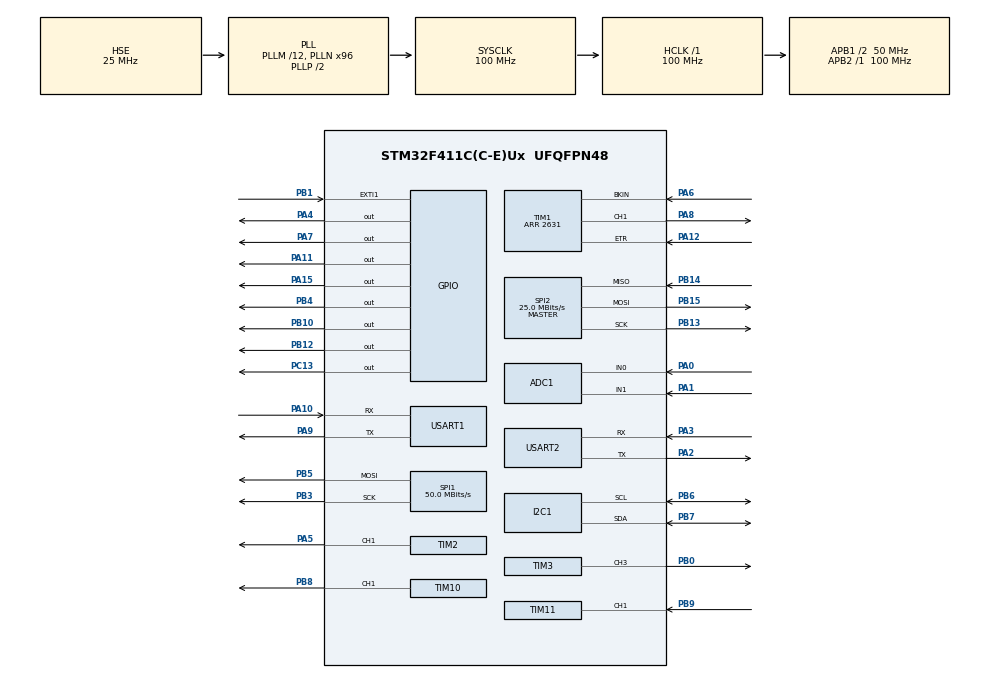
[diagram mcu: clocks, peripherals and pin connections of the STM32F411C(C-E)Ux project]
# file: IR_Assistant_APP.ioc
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ADC1.Channel-0\#ChannelRegularConversion=ADC_CHANNEL_0
ADC1.NbrOfConversionFlag=1
ADC1.Rank-0\#ChannelRegularConversion=1
ADC1.SamplingTime-0\#ChannelRegularConversion=ADC_SAMPLETIME_3CYCLES
ADC1.master=1
Dma.Request0=TIM2_CH3/UP
Dma.Request1=SPI1_TX
Dma.Request2=USART1_RX
Dma.Request3=USART2_RX
Dma.Request4=USART1_TX
Dma.Request5=USART2_TX
Dma.SPI1_TX.1.Direction=DMA_MEMORY_TO_PERIPH
Dma.SPI1_TX.1.FIFOMode=DMA_FIFOMODE_DISABLE
Dma.SPI1_TX.1.Instance=DMA2_Stream2
Dma.SPI1_TX.1.MemDataAlignment=DMA_MDATAALIGN_HALFWORD
Dma.SPI1_TX.1.MemInc=DMA_MINC_ENABLE
Dma.SPI1_TX.1.Mode=DMA_NORMAL
Dma.SPI1_TX.1.PeriphDataAlignment=DMA_PDATAALIGN_HALFWORD
Dma.SPI1_TX.1.PeriphInc=DMA_PINC_DISABLE
Dma.SPI1_TX.1.Priority=DMA_PRIORITY_VERY_HIGH
Dma.TIM2_CH3/UP.0.Direction=DMA_MEMORY_TO_PERIPH
Dma.TIM2_CH3/UP.0.FIFOMode=DMA_FIFOMODE_DISABLE
Dma.TIM2_CH3/UP.0.Instance=DMA1_Stream1
Dma.TIM2_CH3/UP.0.MemDataAlignment=DMA_MDATAALIGN_WORD
Dma.TIM2_CH3/UP.0.MemInc=DMA_MINC_ENABLE
Dma.TIM2_CH3/UP.0.Mode=DMA_NORMAL
Dma.TIM2_CH3/UP.0.PeriphDataAlignment=DMA_PDATAALIGN_WORD
Dma.TIM2_CH3/UP.0.PeriphInc=DMA_PINC_DISABLE
Dma.TIM2_CH3/UP.0.Priority=DMA_PRIORITY_VERY_HIGH
Dma.USART1_RX.2.Direction=DMA_PERIPH_TO_MEMORY
Dma.USART1_RX.2.FIFOMode=DMA_FIFOMODE_DISABLE
Dma.USART1_RX.2.Instance=DMA2_Stream5
Dma.USART1_RX.2.MemDataAlignment=DMA_MDATAALIGN_BYTE
Dma.USART1_RX.2.MemInc=DMA_MINC_ENABLE
Dma.USART1_RX.2.Mode=DMA_NORMAL
Dma.USART1_RX.2.PeriphDataAlignment=DMA_PDATAALIGN_BYTE
Dma.USART1_RX.2.PeriphInc=DMA_PINC_DISABLE
Dma.USART1_RX.2.Priority=DMA_PRIORITY_HIGH
Dma.USART1_TX.4.Direction=DMA_MEMORY_TO_PERIPH
Dma.USART1_TX.4.FIFOMode=DMA_FIFOMODE_DISABLE
Dma.USART1_TX.4.Instance=DMA2_Stream7
Dma.USART1_TX.4.MemDataAlignment=DMA_MDATAALIGN_BYTE
Dma.USART1_TX.4.MemInc=DMA_MINC_ENABLE
Dma.USART1_TX.4.Mode=DMA_NORMAL
Dma.USART1_TX.4.PeriphDataAlignment=DMA_PDATAALIGN_BYTE
Dma.USART1_TX.4.PeriphInc=DMA_PINC_DISABLE
Dma.USART1_TX.4.Priority=DMA_PRIORITY_HIGH
Dma.USART2_RX.3.Direction=DMA_PERIPH_TO_MEMORY
Dma.USART2_RX.3.FIFOMode=DMA_FIFOMODE_DISABLE
Dma.USART2_RX.3.Instance=DMA1_Stream5
Dma.USART2_RX.3.MemDataAlignment=DMA_MDATAALIGN_BYTE
Dma.USART2_RX.3.MemInc=DMA_MINC_ENABLE
Dma.USART2_RX.3.Mode=DMA_NORMAL
Dma.USART2_RX.3.PeriphDataAlignment=DMA_PDATAALIGN_BYTE
Dma.USART2_RX.3.PeriphInc=DMA_PINC_DISABLE
Dma.USART2_RX.3.Priority=DMA_PRIORITY_HIGH
Dma.USART2_TX.5.Direction=DMA_MEMORY_TO_PERIPH
Dma.USART2_TX.5.FIFOMode=DMA_FIFOMODE_DISABLE
Dma.USART2_TX.5.Instance=DMA1_Stream6
Dma.USART2_TX.5.MemDataAlignment=DMA_MDATAALIGN_BYTE
Dma.USART2_TX.5.MemInc=DMA_MINC_ENABLE
Dma.USART2_TX.5.Mode=DMA_NORMAL
Dma.USART2_TX.5.PeriphDataAlignment=DMA_PDATAALIGN_BYTE
Dma.USART2_TX.5.PeriphInc=DMA_PINC_DISABLE
Dma.USART2_TX.5.Priority=DMA_PRIORITY_HIGH
FREERTOS.Tasks01=defaultTask,8,128,StartDefaultTask,Default,NULL,Dynamic,NULL,NULL
FREERTOS.configENABLE_FPU=1
FREERTOS.configTOTAL_HEAP_SIZE=61400
FREERTOS.configUSE_TICK_HOOK=1
I2C1.I2C_Mode=I2C_Fast
Mcu.Family=STM32F4
Mcu.Name=STM32F411C(C-E)Ux
Mcu.Package=UFQFPN48
NVIC.DMA1_Stream1_IRQn=true\:6\:0\:true\:false\:true\:true\:false\:true\:true
NVIC.DMA1_Stream5_IRQn=true\:5\:0\:false\:false\:true\:true\:false\:true\:true
NVIC.DMA1_Stream6_IRQn=true\:5\:0\:false\:false\:true\:true\:false\:true\:true
NVIC.DMA2_Stream2_IRQn=true\:6\:0\:true\:false\:true\:true\:false\:true\:true
NVIC.DMA2_Stream5_IRQn=true\:5\:0\:false\:false\:true\:true\:false\:true\:true
NVIC.DMA2_Stream7_IRQn=true\:5\:0\:false\:false\:true\:true\:false\:true\:true
NVIC.EXTI1_IRQn=true\:5\:0\:false\:false\:true\:true\:true\:true\:true
NVIC.PriorityGroup=NVIC_PRIORITYGROUP_4
NVIC.TIM1_BRK_TIM9_IRQn=true\:15\:0\:false\:false\:true\:false\:false\:true\:true
NVIC.TIM1_TRG_COM_TIM11_IRQn=true\:5\:0\:false\:false\:true\:true\:true\:true\:true
NVIC.TimeBase=TIM1_BRK_TIM9_IRQn
NVIC.TimeBaseIP=TIM9
NVIC.USART1_IRQn=true\:5\:0\:false\:false\:true\:true\:true\:true\:true
NVIC.USART2_IRQn=true\:5\:0\:false\:false\:true\:true\:true\:true\:true
PA0-WKUP.Signal=ADCx_IN0
PA1.Signal=ADCx_IN1
PA10.Mode=Asynchronous
PA10.Signal=USART1_RX
PA11.Signal=GPIO_Output
PA12.GPIO_Speed=GPIO_SPEED_FREQ_HIGH
PA12.Signal=S_TIM1_ETR
PA13.Mode=Serial_Wire
PA13.Signal=SYS_JTMS-SWDIO
PA14.Mode=Serial_Wire
PA14.Signal=SYS_JTCK-SWCLK
PA15.Signal=GPIO_Output
PA2.Mode=Asynchronous
PA2.Signal=USART2_TX
PA3.Mode=Asynchronous
PA3.Signal=USART2_RX
PA4.GPIO_ModeDefaultOutputPP=GPIO_MODE_OUTPUT_OD
PA4.GPIO_PuPd=GPIO_NOPULL
PA4.PinState=GPIO_PIN_SET
PA4.Signal=GPIO_Output
PA5.GPIO_PuPd=GPIO_PULLUP
PA5.GPIO_Speed=GPIO_SPEED_FREQ_HIGH
PA5.Signal=S_TIM2_CH1_ETR
PA6.Mode=Activate-Break-Input
PA6.Signal=TIM1_BKIN
PA7.GPIO_ModeDefaultOutputPP=GPIO_MODE_OUTPUT_OD
PA7.GPIO_PuPd=GPIO_NOPULL
PA7.PinState=GPIO_PIN_SET
PA7.Signal=GPIO_Output
PA8.GPIO_Speed=GPIO_SPEED_FREQ_HIGH
PA8.Signal=S_TIM1_CH1
PA9.Mode=Asynchronous
PA9.Signal=USART1_TX
PB0.Signal=S_TIM3_CH3
PB1.GPIO_ModeDefaultEXTI=GPIO_MODE_IT_FALLING
PB1.GPIO_PuPd=GPIO_PULLUP
PB1.Signal=GPXTI1
PB10.Signal=GPIO_Output
PB12.PinState=GPIO_PIN_SET
PB12.Signal=GPIO_Output
PB13.Mode=Full_Duplex_Master
PB13.Signal=SPI2_SCK
PB14.Mode=Full_Duplex_Master
PB14.Signal=SPI2_MISO
PB15.Mode=Full_Duplex_Master
PB15.Signal=SPI2_MOSI
PB3.Mode=TX_Only_Simplex_Unidirect_Master
PB3.Signal=SPI1_SCK
PB4.Signal=GPIO_Output
PB5.Mode=TX_Only_Simplex_Unidirect_Master
PB5.Signal=SPI1_MOSI
PB6.Mode=I2C
PB6.Signal=I2C1_SCL
PB7.Mode=I2C
PB7.Signal=I2C1_SDA
PB8.Signal=S_TIM10_CH1
PB9.Signal=S_TIM11_CH1
PC13-ANTI_TAMP.Signal=GPIO_Output
PC14-OSC32_IN.Mode=LSE-External-Oscillator
PC14-OSC32_IN.Signal=RCC_OSC32_IN
PC15-OSC32_OUT.Mode=LSE-External-Oscillator
PC15-OSC32_OUT.Signal=RCC_OSC32_OUT
PH0\ -\ OSC_IN.Mode=HSE-External-Oscillator
PH0\ -\ OSC_IN.Signal=RCC_OSC_IN
PH1\ -\ OSC_OUT.Mode=HSE-External-Oscillator
PH1\ -\ OSC_OUT.Signal=RCC_OSC_OUT
ProjectManager.HeapSize=0x0
ProjectManager.StackSize=0x1000
ProjectManager.TargetToolchain=CMake
RCC.48MHZClocksFreq_Value=50000000
RCC.AHBFreq_Value=100000000
RCC.APB1CLKDivider=RCC_HCLK_DIV2
RCC.APB1Freq_Value=50000000
RCC.APB1TimFreq_Value=100000000
RCC.APB2Freq_Value=100000000
RCC.APB2TimFreq_Value=100000000
RCC.CortexFreq_Value=100000000
RCC.HCLKFreq_Value=100000000
RCC.HSE_VALUE=25000000
RCC.HSI_VALUE=16000000
RCC.PLLM=12
RCC.PLLN=96
RCC.PLLSourceVirtual=RCC_PLLSOURCE_HSE
RCC.RCC_RTC_Clock_Source=RCC_RTCCLKSOURCE_LSE
RCC.RCC_RTC_Clock_SourceVirtual=RCC_RTCCLKSOURCE_LSI
RCC.SYSCLKFreq_VALUE=100000000
RCC.SYSCLKSource=RCC_SYSCLKSOURCE_PLLCLK
RCC.VCOOutputFreq_Value=200000000
SH.ADCx_IN0.0=ADC1_IN0,IN0
SH.ADCx_IN1.0=ADC1_IN1,IN1
SH.S_TIM10_CH1.0=TIM10_CH1,PWM Generation1 CH1
SH.S_TIM11_CH1.0=TIM11_CH1,Input_Capture1_from_TI1
SH.S_TIM1_CH1.0=TIM1_CH1,PWM Generation1 CH1
SH.S_TIM1_ETR.0=TIM1_ETR,TriggerSource_ETR
SH.S_TIM2_CH1_ETR.0=TIM2_CH1,Output Compare1 CH1
SH.S_TIM3_CH3.0=TIM3_CH3,PWM Generation3 CH3
SPI1.BaudRatePrescaler=SPI_BAUDRATEPRESCALER_2
SPI1.CalculateBaudRate=50.0 MBits/s
SPI1.Direction=SPI_DIRECTION_2LINES
SPI1.Mode=SPI_MODE_MASTER
SPI1.VirtualType=VM_MASTER
SPI2.BaudRatePrescaler=SPI_BAUDRATEPRESCALER_2
SPI2.CalculateBaudRate=25.0 MBits/s
SPI2.Direction=SPI_DIRECTION_2LINES
SPI2.Mode=SPI_MODE_MASTER
SPI2.VirtualType=VM_MASTER
TIM1.AutoReloadPreload=TIM_AUTORELOAD_PRELOAD_ENABLE
TIM1.AutomaticOutput=TIM_AUTOMATICOUTPUT_ENABLE
TIM1.Channel-PWM\ Generation1\ CH1=TIM_CHANNEL_1
TIM1.OCIdleState_1=TIM_OCIDLESTATE_SET
TIM1.OCPolarity_1=TIM_OCPOLARITY_LOW
TIM1.OffStateIDLEMode=TIM_OSSI_ENABLE
TIM1.OffStateRunMode=TIM_OSSR_ENABLE
TIM1.Period=2631
TIM1.Pulse-PWM\ Generation1\ CH1=877
TIM1.Slave_TriggerFilter=8
TIM1.Slave_TriggerPolarity=TIM_TRIGGERPOLARITY_INVERTED
TIM10.AutoReloadPreload=TIM_AUTORELOAD_PRELOAD_ENABLE
TIM10.Channel=TIM_CHANNEL_1
TIM10.Period=1000-1
TIM10.Prescaler=100-1
TIM10.Pulse=500
TIM11.AutoReloadPreload=TIM_AUTORELOAD_PRELOAD_ENABLE
TIM11.Channel=TIM_CHANNEL_1
TIM11.ICFilter_CH1=3
TIM11.ICPolarity_CH1=TIM_INPUTCHANNELPOLARITY_BOTHEDGE
TIM11.Period=65535
TIM11.Prescaler=100-1
TIM2.AutoReloadPreload=TIM_AUTORELOAD_PRELOAD_ENABLE
TIM2.Channel-Output\ Compare1\ CH1=TIM_CHANNEL_1
TIM2.OCMode_1=TIM_OCMODE_TOGGLE
TIM2.Period=1000
TIM2.Prescaler=99
TIM2.TIM_MasterOutputTrigger=TIM_TRGO_OC1REF
TIM3.AutoReloadPreload=TIM_AUTORELOAD_PRELOAD_ENABLE
TIM3.Channel-PWM\ Generation3\ CH3=TIM_CHANNEL_3
TIM3.Period=1000-1
TIM3.Prescaler=0
TIM3.Pulse-PWM\ Generation3\ CH3=500
USART1.VirtualMode=VM_ASYNC
USART2.VirtualMode=VM_ASYNC
VP_FREERTOS_VS_CMSIS_V2.Mode=CMSIS_V2
VP_SYS_VS_tim9.Mode=TIM9
VP_TIM10_VS_ClockSourceINT.Mode=Enable_Timer
VP_TIM11_VS_ClockSourceINT.Mode=Enable_Timer
VP_TIM1_VS_ClockSourceINT.Mode=Internal
VP_TIM1_VS_ControllerModeGated.Mode=Gated Mode
VP_TIM2_VS_ClockSourceINT.Mode=Internal
VP_TIM3_VS_ClockSourceINT.Mode=Internal
board=custom

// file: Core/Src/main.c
/* USER CODE BEGIN Header */
/**
  ******************************************************************************
  * @file           : main.c
  * @brief          : Main program body
  ******************************************************************************
  * @attention
  *
  * Copyright (c) 2026 STMicroelectronics.
  * All rights reserved.
  *
  * This software is licensed under terms that can be found in the LICENSE file
  * in the root directory of this software component.
  * If no LICENSE file comes with this software, it is provided AS-IS.
  *
  ******************************************************************************
  */
/* USER CODE END Header */
#include "main.h"
#include "cmsis_os.h"
#include "adc.h"
#include "dma.h"
#include "i2c.h"
#include "spi.h"
#include "tim.h"
#include "usart.h"
#include "gpio.h"

/* USER CODE BEGIN Includes */
#include "bsp_norflash.h"
#include "bsp_key.h"
#include "bsp_ir.h"

/* USER CODE END Includes */

/* USER CODE BEGIN PTD */
extern Key_Handle key_handle;
extern IR_Handle ir_handle;
/* USER CODE END PTD */

/* USER CODE BEGIN PD */
#define TAG "main"
/* USER CODE END PD */

void SystemClock_Config(void);
void MX_FREERTOS_Init(void);

/* USER CODE BEGIN 0 */
void test_log(void)
{
  elog_a(TAG, "hello assert");
  elog_e(TAG, "hello error");
  elog_w(TAG, "hello waring");
  elog_i(TAG, "hello info");
  elog_d(TAG, "hello debug");
  elog_v(TAG, "hello verbose");
}
/* USER CODE END 0 */

int main(void)
{

  /* MCU Configuration--------------------------------------------------------*/

  /* Reset of all peripherals, Initializes the Flash interface and the Systick. */
  HAL_Init();

  /* Configure the system clock */
  SystemClock_Config();

  /* Initialize all configured peripherals */
  MX_GPIO_Init();
  MX_DMA_Init();
  MX_ADC1_Init();
  MX_I2C1_Init();
  MX_SPI1_Init();
  MX_SPI2_Init();
  MX_TIM1_Init();
  MX_TIM2_Init();
  MX_TIM3_Init();
  MX_TIM10_Init();
  MX_TIM11_Init();
  MX_USART1_UART_Init();
  MX_USART2_UART_Init();
  /* USER CODE BEGIN 2 */
  HAL_Delay(300);
  HAL_GPIO_WritePin(GPIOC, GPIO_PIN_13, GPIO_PIN_SET);
  HAL_GPIO_WritePin(GPIOA, GPIO_PIN_7, GPIO_PIN_SET);
  HAL_GPIO_WritePin(GPIOA, GPIO_PIN_4, GPIO_PIN_SET);
  elog_init();
  elog_set_fmt(ELOG_LVL_ASSERT, ELOG_FMT_LVL | ELOG_FMT_TAG | ELOG_FMT_FUNC);
  elog_set_fmt(ELOG_LVL_ERROR, ELOG_FMT_LVL | ELOG_FMT_TAG | ELOG_FMT_FUNC);
  elog_set_fmt(ELOG_LVL_WARN, ELOG_FMT_LVL | ELOG_FMT_TAG | ELOG_FMT_FUNC);
  elog_set_fmt(ELOG_LVL_INFO, ELOG_FMT_LVL | ELOG_FMT_TAG | ELOG_FMT_FUNC);
  elog_set_fmt(ELOG_LVL_DEBUG, ELOG_FMT_LVL | ELOG_FMT_TAG | ELOG_FMT_FUNC);
  elog_set_fmt(ELOG_LVL_VERBOSE, ELOG_FMT_LVL | ELOG_FMT_TAG | ELOG_FMT_FUNC);
  elog_start();
  // test_log();
  elog_set_filter_lvl(ELOG_LVL_DEBUG);
  /* USER CODE END 2 */

  /* Init scheduler */
  osKernelInitialize();  /* Call init function for freertos objects (in cmsis_os2.c) */
  MX_FREERTOS_Init();

  /* Start scheduler */
  osKernelStart();

  /* We should never get here as control is now taken by the scheduler */

  /* Infinite loop */
  while (1)
  {

  }
}

void SystemClock_Config(void)
{
  RCC_OscInitTypeDef RCC_OscInitStruct = {0};
  RCC_ClkInitTypeDef RCC_ClkInitStruct = {0};

  /** Configure the main internal regulator output voltage
  */
  __HAL_RCC_PWR_CLK_ENABLE();
  __HAL_PWR_VOLTAGESCALING_CONFIG(PWR_REGULATOR_VOLTAGE_SCALE1);

  /** Initializes the RCC Oscillators according to the specified parameters
  * in the RCC_OscInitTypeDef structure.
  */
  RCC_OscInitStruct.OscillatorType = RCC_OSCILLATORTYPE_HSE;
  RCC_OscInitStruct.HSEState = RCC_HSE_ON;
  RCC_OscInitStruct.PLL.PLLState = RCC_PLL_ON;
  RCC_OscInitStruct.PLL.PLLSource = RCC_PLLSOURCE_HSE;
  RCC_OscInitStruct.PLL.PLLM = 12;
  RCC_OscInitStruct.PLL.PLLN = 96;
  RCC_OscInitStruct.PLL.PLLP = RCC_PLLP_DIV2;
  RCC_OscInitStruct.PLL.PLLQ = 4;
  if (HAL_RCC_OscConfig(&RCC_OscInitStruct) != HAL_OK)
  {
    Error_Handler();
  }

  /** Initializes the CPU, AHB and APB buses clocks
  */
  RCC_ClkInitStruct.ClockType = RCC_CLOCKTYPE_HCLK|RCC_CLOCKTYPE_SYSCLK
                              |RCC_CLOCKTYPE_PCLK1|RCC_CLOCKTYPE_PCLK2;
  RCC_ClkInitStruct.SYSCLKSource = RCC_SYSCLKSOURCE_PLLCLK;
  RCC_ClkInitStruct.AHBCLKDivider = RCC_SYSCLK_DIV1;
  RCC_ClkInitStruct.APB1CLKDivider = RCC_HCLK_DIV2;
  RCC_ClkInitStruct.APB2CLKDivider = RCC_HCLK_DIV1;

  if (HAL_RCC_ClockConfig(&RCC_ClkInitStruct, FLASH_LATENCY_3) != HAL_OK)
  {
    Error_Handler();
  }
}

/* USER CODE BEGIN 4 */
void HAL_GPIO_EXTI_Callback(uint16_t GPIO_Pin)
{
  if (GPIO_Pin == GPIO_PIN_1)
  {
    Key_I2C_ISR_Callback(key_handle);
  }
}

void HAL_TIM_IC_CaptureCallback(TIM_HandleTypeDef *htim)
{
  if (htim->Instance == IR_Get_Receive_TIM_Handle(ir_handle)->Instance)
  {
    IR_Capture_IC_ISR_Callback(ir_handle);
  }
}

/* USER CODE END 4 */

void HAL_TIM_PeriodElapsedCallback(TIM_HandleTypeDef *htim)
{
  if (htim->Instance == TIM9)
  {
    HAL_IncTick();
  }
  /* USER CODE BEGIN Callback 1 */
  else if (htim->Instance == IR_Get_Receive_TIM_Handle(ir_handle)->Instance)
  {
    IR_Capture_Update_ISR_Callback(ir_handle);
  }
  /* USER CODE END Callback 1 */
}

void Error_Handler(void)
{
  __disable_irq();
  while (1)
  {
  }
}

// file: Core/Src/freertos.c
/* USER CODE BEGIN Header */
/**
  ******************************************************************************
  * File Name          : freertos.c
  * Description        : Code for freertos applications
  ******************************************************************************
  * @attention
  *
  * Copyright (c) 2026 STMicroelectronics.
  * All rights reserved.
  *
  * This software is licensed under terms that can be found in the LICENSE file
  * in the root directory of this software component.
  * If no LICENSE file comes with this software, it is provided AS-IS.
  *
  ******************************************************************************
  */
/* USER CODE END Header */

#include "FreeRTOS.h"
#include "task.h"
#include "main.h"
#include "cmsis_os.h"

/* USER CODE BEGIN Includes */
#include "freertos_debug.h"
#include "bsp_key.h"
#include "bsp_dht20.h"
#include "bsp_buzzer.h"
#include "bsp_ir.h"
#include "bsp_norflash.h"
#include "bsp_uart.h"
#include "i2c.h"
#include "tim.h"
#include "usart.h"
#include "ir_storage.h"
/* USER CODE END Includes */

/* USER CODE BEGIN PD */
#define TAG "main"
/* USER CODE END PD */

/* USER CODE BEGIN Variables */
Key_Handle key_handle;
DHT20_Handle dht20_handle;
Buzzer_Handle buzzer_handle;
IR_Handle ir_handle;
UART_Handle uart_lte_handle;
UART_Handle uart_debug_handle;
Storage_Handle storage_handle;
extern DMA_HandleTypeDef hdma_tim2_ch3_up;
/* USER CODE END Variables */
/* Definitions for defaultTask */
osThreadId_t defaultTaskHandle;
const osThreadAttr_t defaultTask_attributes = {
  .name = "defaultTask",
  .stack_size = 128 * 4,
  .priority = (osPriority_t) osPriorityLow,
};

/* USER CODE BEGIN FunctionPrototypes */
osThreadId_t lvglTaskHandle;
const osThreadAttr_t lvglTask_attributes = {
  .name = "lvglTask",
  .stack_size = 4096,
  .priority = (osPriority_t) 12,
};
void lvgl_main_task(void *pvParameters);
/* USER CODE END FunctionPrototypes */

void StartDefaultTask(void *argument);

void MX_FREERTOS_Init(void); /* (MISRA C 2004 rule 8.1) */

/* Hook prototypes */
void vApplicationTickHook(void);

/* USER CODE BEGIN 3 */
void vApplicationTickHook( void )
{
   /* This function will be called by each tick interrupt if
   configUSE_TICK_HOOK is set to 1 in FreeRTOSConfig.h. User code can be
   added here, but the tick hook is called from an interrupt context, so
   code must not attempt to block, and only the interrupt safe FreeRTOS API
   functions can be used (those that end in FromISR()). */
}
/* USER CODE END 3 */

void MX_FREERTOS_Init(void) {

  /* Create the thread(s) */
  /* creation of defaultTask */
  defaultTaskHandle = osThreadNew(StartDefaultTask, NULL, &defaultTask_attributes);

  /* USER CODE BEGIN RTOS_THREADS */
  UART_config_t uart_config =
  {
    .uart_handle = &huart2
  };
  uart_debug_handle = UART_DMA_Init(&uart_config);
  uart_config.uart_handle = &huart1;
  uart_lte_handle = UART_DMA_Init(&uart_config);

  key_config_t key_config =
  {
    .i2c_handle = &hi2c1,
    .timeout_ms = 100,
    .long_press_time_ms = 500
  };
  key_handle = Key_Init(&key_config);

  DHT20_config_t dht20_config =
  {
    .delay_ms = vTaskDelay,
    .i2c_handle = &hi2c1,
    .measure_interval_ms = 1000,
    .timeout_ms = 500
  };
  dht20_handle = DHT20_Init(&dht20_config);

  buzzer_config_t buzzer_config =
  {
    .pwm_tim = &htim3,
    .default_beep_freq = 1000,
    .default_beep_ms = 100,
    .max_queue_size = 10,
    .pwm_channel = TIM_CHANNEL_3,
    .type = BUZZER_TYPE_PASSIVE
  };
  buzzer_handle = Buzzer_Init(&buzzer_config);

  ir_config_t ir_config =
  {
    .recv_tim_handle = &htim11,
    .recv_tim_channel = TIM_CHANNEL_1,
    .recv_gpio_port = GPIOB,
    .recv_gpio_pin = GPIO_PIN_9,
    .send_tim_handle = &htim2,
    .send_dma_handle = &hdma_tim2_ch3_up,
    .send_tim_channel = TIM_CHANNEL_1,
    .send_gpio_port = GPIOA,
    .send_gpio_pin = GPIO_PIN_5,
    .timeout_ms = 400,
    .queue_depth = 3
  };
  ir_handle = IR_Init(&ir_config);

  storage_handle = Storage_Init();
  // Storage_Format(storage_handle);
  FreertosDebug_Init();
  /* USER CODE END RTOS_THREADS */

}

void StartDefaultTask(void *argument)
{
  /* USER CODE BEGIN StartDefaultTask */

  /* Infinite loop */
  for(;;)
  {
    osDelay(1000);
  }
  /* USER CODE END StartDefaultTask */
}

/* USER CODE END Application */
